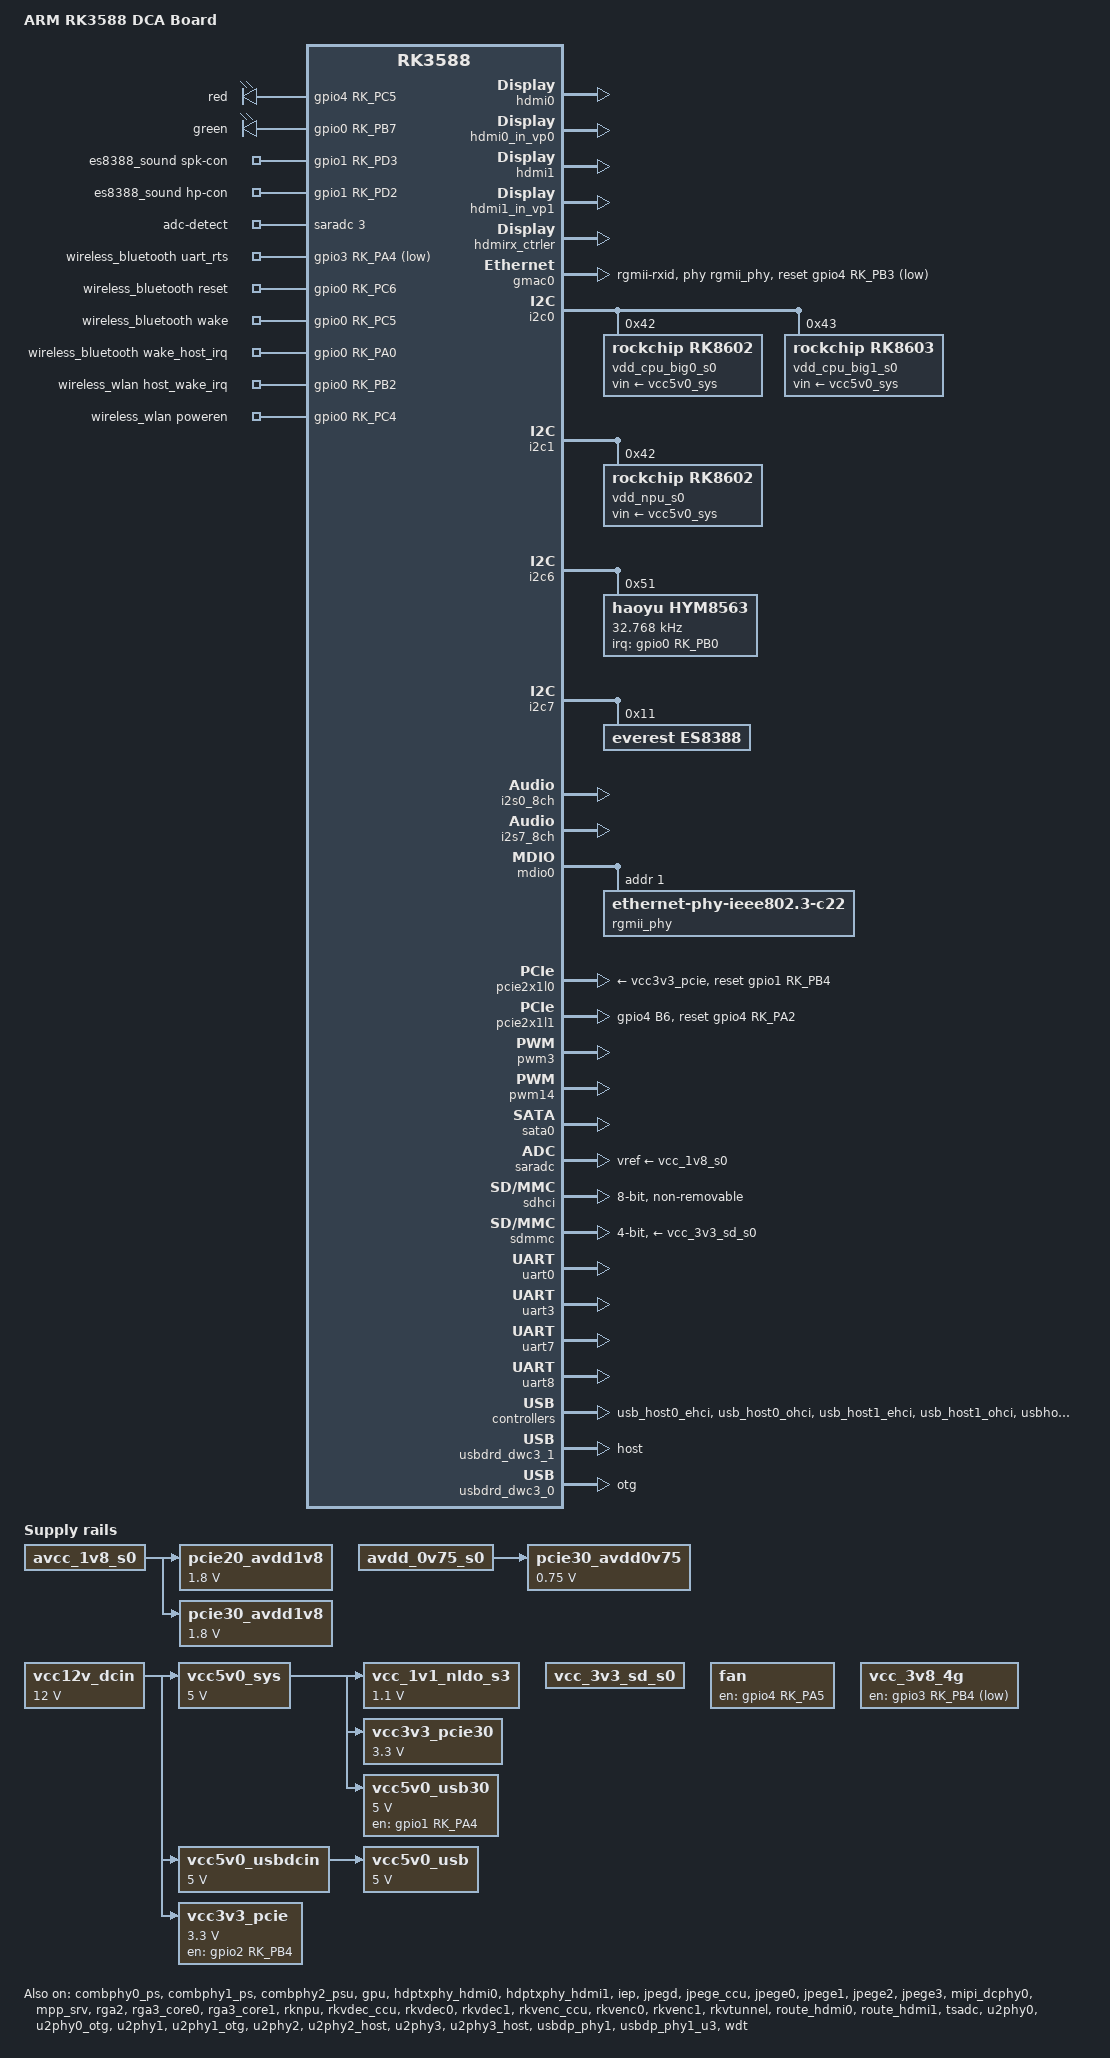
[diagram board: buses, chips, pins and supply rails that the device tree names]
// SPDX-License-Identifier: (GPL-2.0+ OR MIT)
/*
 * Copyright (c) 2023 Rockchip Electronics Co., Ltd.
 * Copyright (c) 2023 Rockchip rk3588-evb7-v11, Lhd.
 */

/dts-v1/;

#include <dt-bindings/gpio/gpio.h>
#include <dt-bindings/leds/common.h>
#include <dt-bindings/pwm/pwm.h>
#include <dt-bindings/pinctrl/rockchip.h>
#include <dt-bindings/input/rk-input.h>
#include <dt-bindings/display/drm_mipi_dsi.h>
#include <dt-bindings/display/rockchip_vop.h>
#include <dt-bindings/sensor-dev.h>
#include "dt-bindings/usb/pd.h"
#include "rk3588.dtsi"
#include "rk3588-rk806-single.dtsi"
#include "rk3588-linux.dtsi"

/ {
	model = "ARM RK3588 DCA Board";
	compatible = "rockchip,rk3588-armsoc-dca", "rockchip,rk3588";
	/delete-node/ chosen;
	
	vcc12v_dcin: vcc12v-dcin {
		compatible = "regulator-fixed";
		regulator-name = "vcc12v_dcin";
		regulator-always-on;
		regulator-boot-on;
		regulator-min-microvolt = <12000000>;
		regulator-max-microvolt = <12000000>;
	};

	vcc5v0_sys: vcc5v0-sys {
		compatible = "regulator-fixed";
		regulator-name = "vcc5v0_sys";
		regulator-always-on;
		regulator-boot-on;
		regulator-min-microvolt = <5000000>;
		regulator-max-microvolt = <5000000>;
		vin-supply = <&vcc12v_dcin>;
	};

	vcc5v0_usbdcin: vcc5v0-usbdcin {
		compatible = "regulator-fixed";
		regulator-name = "vcc5v0_usbdcin";
		regulator-always-on;
		regulator-boot-on;
		regulator-min-microvolt = <5000000>;
		regulator-max-microvolt = <5000000>;
		vin-supply = <&vcc12v_dcin>;
	};

	vcc5v0_usb: vcc5v0-usb {
		compatible = "regulator-fixed";
		regulator-name = "vcc5v0_usb";
		regulator-always-on;
		regulator-boot-on;
		regulator-min-microvolt = <5000000>;
		regulator-max-microvolt = <5000000>;
		vin-supply = <&vcc5v0_usbdcin>;
	};

	hdmi0_sound: hdmi0-sound {
		compatible = "rockchip,hdmi";
		rockchip,mclk-fs = <128>;
		rockchip,card-name = "rockchip-hdmi0";
		rockchip,cpu = <&i2s5_8ch>;
		rockchip,codec = <&hdmi0>;
		rockchip,jack-det;
	};

	leds: leds {
		compatible = "gpio-leds";
		work_led: work {
			label = "red";
			gpios = <&gpio4 RK_PC5 GPIO_ACTIVE_HIGH>;
			linux,default-trigger = "default-off";
			default-state = "off";
		};

		active_led: active {
			label = "green";
			gpios = <&gpio0 RK_PB7 GPIO_ACTIVE_HIGH>;
			linux,default-trigger = "default-off";
			default-state = "on";
		};
	};

	es8388_sound: es8388-sound {
		status = "okay";
		compatible = "rockchip,multicodecs-card";
		rockchip,card-name = "rockchip-es8388";
		io-channels = <&saradc 3>;
		io-channel-names = "adc-detect";
		keyup-threshold-microvolt = <1800000>;
		poll-interval = <100>;
		spk-con-gpio = <&gpio1 RK_PD3 GPIO_ACTIVE_HIGH>;
		hp-con-gpio = <&gpio1 RK_PD2 GPIO_ACTIVE_HIGH>;
		rockchip,format = "i2s";
		rockchip,mclk-fs = <256>;
		rockchip,cpu = <&i2s0_8ch>;
		rockchip,codec = <&es8388>;
		rockchip,audio-routing =
			"Headphone", "LOUT1",
			"Headphone", "ROUT1",

			"Speaker", "LOUT2",
			"Speaker", "ROUT2",
			"Headphone", "Headphone Power",
			"Headphone", "Headphone Power",
			"Speaker", "Speaker Power",
			"Speaker", "Speaker Power",
			"LINPUT1", "Main Mic",
			"LINPUT2", "Main Mic",
			"RINPUT1", "Headset Mic",
			"RINPUT2", "Headset Mic";
		pinctrl-names = "default";

		play-pause-key {
			label = "playpause";
			linux,code = <KEY_PLAYPAUSE>;
			press-threshold-microvolt = <2000>;
		};
	};
	
	hdmiin_dc: hdmiin-dc {
		compatible = "rockchip,dummy-codec";
		#sound-dai-cells = <0>;
	};
	
	hdmiin-sound {
		compatible = "simple-audio-card";
		simple-audio-card,format = "i2s";
		simple-audio-card,name = "rockchip,hdmiin";
		simple-audio-card,bitclock-master = <&dailink0_master>;
		simple-audio-card,frame-master = <&dailink0_master>;
		status = "okay";
		simple-audio-card,cpu {
			sound-dai = <&i2s7_8ch>;
		};
		dailink0_master: simple-audio-card,codec {
			sound-dai = <&hdmiin_dc>;
		};
	};
	
	pcie20_avdd1v8: pcie20-avdd1v8 {
		compatible = "regulator-fixed";
		regulator-name = "pcie20_avdd1v8";
		regulator-boot-on;
		regulator-always-on;
		regulator-min-microvolt = <1800000>;
		regulator-max-microvolt = <1800000>;
		vin-supply = <&avcc_1v8_s0>;
	};

	pcie30_avdd0v75: pcie30-avdd0v75 {
		compatible = "regulator-fixed";
		regulator-name = "pcie30_avdd0v75";
		regulator-boot-on;
		regulator-always-on;
		regulator-min-microvolt = <750000>;
		regulator-max-microvolt = <750000>;
		vin-supply = <&avdd_0v75_s0>;
	};

	pcie30_avdd1v8: pcie30-avdd1v8 {
		compatible = "regulator-fixed";
		regulator-name = "pcie30_avdd1v8";
		regulator-boot-on;
		regulator-always-on;
		regulator-min-microvolt = <1800000>;
		regulator-max-microvolt = <1800000>;
		vin-supply = <&avcc_1v8_s0>;
	};

	vcc_1v1_nldo_s3: vcc-1v1-nldo-s3 {
		compatible = "regulator-fixed";
		regulator-name = "vcc_1v1_nldo_s3";
		regulator-always-on;
		regulator-boot-on;
		regulator-min-microvolt = <1100000>;
		regulator-max-microvolt = <1100000>;
		vin-supply = <&vcc5v0_sys>;
	};

	vcc3v3_pcie30: vcc3v3-pcie30 {
		compatible = "regulator-fixed";
		regulator-name = "vcc3v3_pcie30";
		regulator-min-microvolt = <3300000>;
		regulator-max-microvolt = <3300000>;
		enable-active-high;
		startup-delay-us = <5000>;
		vin-supply = <&vcc5v0_sys>;
	};
	
	vcc3v3_pcie: vcc3v3-pcie {
        	compatible = "regulator-fixed";
        	regulator-name = "vcc3v3_pcie";
        	regulator-min-microvolt = <3300000>;
        	regulator-max-microvolt = <3300000>;
        	enable-active-high;
        	gpios = <&gpio2 RK_PB4 GPIO_ACTIVE_HIGH>;
        	startup-delay-us = <5000>;
        	vin-supply = <&vcc12v_dcin>;
    	};

	vcc_3v3_sd_s0: vcc-3v3-sd-s0-regulator {
		compatible = "regulator-fixed";
		pinctrl-names = "default";
		regulator-name = "vcc_3v3_sd_s0";
		enable-active-high;
	};
	
	fan: fan-regulator {
        	compatible = "regulator-fixed";
        	regulator-name = "fan-5v-regulator";
        	regulator-boot-on;
        	regulator-always-on;
        	enable-active-high;
        	gpio = <&gpio4 RK_PA5 GPIO_ACTIVE_HIGH>;
    	};

    	vcc_3v8_4g: vcc-3v8-4g {
        	compatible = "regulator-fixed";
		regulator-name = "vcc-3v8-4g-regulator";
		regulator-boot-on;
        	regulator-always-on;
		gpio = <&gpio3 RK_PB4 GPIO_ACTIVE_LOW>;
    	};

    	vcc5v0_usb30: vcc5v0-usb30 {
        	compatible = "regulator-fixed";
		regulator-name = "vcc5v0-usb30-regulator";
		regulator-boot-on;
        	enable-active-high;
		gpio = <&gpio1 RK_PA4 GPIO_ACTIVE_HIGH>;
		pinctrl-0 = <&vcc5v0_host_en>;
        	regulator-min-microvolt = <5000000>;
        	regulator-max-microvolt = <5000000>;
        	vin-supply = <&vcc5v0_sys>;
    	};


	wireless_bluetooth: wireless-bluetooth {
		compatible = "bluetooth-platdata";
		clocks = <&hym8563>;
		clock-names = "ext_clock";
		uart_rts_gpios = <&gpio3 RK_PA4 GPIO_ACTIVE_LOW>;
		pinctrl-names = "default", "rts_gpio";
		pinctrl-0 = <&uart8m1_rtsn>, <&bt_reset_gpio>, <&bt_wake_gpio>, <&bt_irq_gpio>;
		pinctrl-1 = <&uart8_gpios>;
		BT,reset_gpio    = <&gpio0 RK_PC6 GPIO_ACTIVE_HIGH>;//BT_REG_ON
		BT,wake_gpio     = <&gpio0 RK_PC5 GPIO_ACTIVE_HIGH>;//HOST_WAKE_BT
		BT,wake_host_irq = <&gpio0 RK_PA0 GPIO_ACTIVE_HIGH>;//BT_WAKE_HOST
		status = "okay";
	};

	wireless_wlan: wireless-wlan {
		compatible = "wlan-platdata";
		wifi_chip_type = "ap6255";
		pinctrl-names = "default";
		pinctrl-0 = <&wifi_host_wake_irq>,<&wifi_poweren_gpio>;
		WIFI,host_wake_irq = <&gpio0 RK_PB2 GPIO_ACTIVE_HIGH>;
		WIFI,poweren_gpio = <&gpio0 RK_PC4 GPIO_ACTIVE_HIGH>;
		status = "okay";
	};
};

&combphy0_ps {
	status = "okay";
};

&combphy1_ps {
	status = "okay";
};

&combphy2_psu {
	status = "okay";
};

&cpu_l0 {
	cpu-supply = <&vdd_cpu_lit_s0>;
	mem-supply = <&vdd_cpu_lit_mem_s0>;
};

&cpu_b0 {
	cpu-supply = <&vdd_cpu_big0_s0>;
	mem-supply = <&vdd_cpu_big0_mem_s0>;
};

&cpu_b2 {
	cpu-supply = <&vdd_cpu_big1_s0>;
	mem-supply = <&vdd_cpu_big1_mem_s0>;
};


&gpu {
	mali-supply = <&vdd_gpu_s0>;
	mem-supply = <&vdd_gpu_mem_s0>;
	status = "okay";
};

&hdmi0 {
	enable-gpios = <&gpio4 RK_PB1 GPIO_ACTIVE_HIGH>;
	status = "okay";
};

&hdmi0_in_vp0 {
	status = "okay";
};

&hdmi0_sound {
	status = "okay";
};

&hdmi1 {
	enable-gpios = <&gpio4 RK_PB2 GPIO_ACTIVE_HIGH>;
	status = "okay";
};

&hdmi1_in_vp1 {
	status = "okay";
};

&hdmirx_ctrler {
	status = "okay";
	hpd-trigger-level = <1>;
	hdmirx-det-gpios = <&gpio2 13 GPIO_ACTIVE_LOW>;
};

&hdptxphy_hdmi0 {
	status = "okay";
};

&hdptxphy_hdmi1 {
	status = "okay";
};

&gmac0 {
	phy-mode = "rgmii-rxid";
	clock_in_out = "output";
	snps,reset-gpio = <&gpio4 RK_PB3 GPIO_ACTIVE_LOW>;
	snps,reset-active-low;
	/* Reset time is 20ms, 100ms for rtl8211f */
	snps,reset-delays-us = <0 20000 100000>;
	pinctrl-names = "default";
	pinctrl-0 = <&gmac0_miim
		     &gmac0_tx_bus2
		     &gmac0_rx_bus2
		     &gmac0_rgmii_clk
		     &eth0_pins
		     &gmac0_rgmii_bus>;
	tx_delay = <0x43>;
	phy-handle = <&rgmii_phy>;
	status = "okay";
};

&i2c0 {
	status = "okay";
	pinctrl-names = "default";
	pinctrl-0 = <&i2c0m2_xfer>;

	vdd_cpu_big0_s0: vdd_cpu_big0_mem_s0: rk8602@42 {
		compatible = "rockchip,rk8602";
		reg = <0x42>;
		vin-supply = <&vcc5v0_sys>;
		regulator-compatible = "rk860x-reg";
		regulator-name = "vdd_cpu_big0_s0";
		regulator-min-microvolt = <550000>;
		regulator-max-microvolt = <1050000>;
		regulator-ramp-delay = <2300>;
		rockchip,suspend-voltage-selector = <1>;
		regulator-boot-on;
		regulator-always-on;
		regulator-state-mem {
			regulator-off-in-suspend;
		};
	};

	vdd_cpu_big1_s0: vdd_cpu_big1_mem_s0: rk8603@43 {
		compatible = "rockchip,rk8603";
		reg = <0x43>;
		vin-supply = <&vcc5v0_sys>;
		regulator-compatible = "rk860x-reg";
		regulator-name = "vdd_cpu_big1_s0";
		regulator-min-microvolt = <550000>;
		regulator-max-microvolt = <1050000>;
		regulator-ramp-delay = <2300>;
		rockchip,suspend-voltage-selector = <1>;
		regulator-boot-on;
		regulator-always-on;
		regulator-state-mem {
			regulator-off-in-suspend;
		};
	};
};

&i2c1 {
	status = "okay";
	pinctrl-names = "default";
	pinctrl-0 = <&i2c1m2_xfer>;

	vdd_npu_s0: vdd_npu_mem_s0: rk8602@42 {
		compatible = "rockchip,rk8602";
		reg = <0x42>;
		vin-supply = <&vcc5v0_sys>;
		regulator-compatible = "rk860x-reg";
		regulator-name = "vdd_npu_s0";
		regulator-min-microvolt = <550000>;
		regulator-max-microvolt = <950000>;
		regulator-ramp-delay = <2300>;
		rockchip,suspend-voltage-selector = <1>;
		regulator-boot-on;
		regulator-always-on;
		regulator-state-mem {
			regulator-off-in-suspend;
		};
	};
};

&i2c6 {
	status = "okay";

	hym8563: hym8563@51 {
		compatible = "haoyu,hym8563";
		reg = <0x51>;
		#clock-cells = <0>;
		clock-frequency = <32768>;
		clock-output-names = "hym8563";
		pinctrl-names = "default";
		pinctrl-0 = <&hym8563_int>;
		interrupt-parent = <&gpio0>;
		interrupts = <RK_PB0 IRQ_TYPE_LEVEL_LOW>;
		wakeup-source;
	};
};

&i2c7 {
	status = "okay";
	es8388: es8388@11 {
		status = "okay";
		#sound-dai-cells = <0>;
		compatible = "everest,es8388", "everest,es8323";
		reg = <0x11>;
		clocks = <&cru I2S0_8CH_MCLKOUT>;
		clock-names = "mclk";
		assigned-clocks = <&cru I2S0_8CH_MCLKOUT>;
		assigned-clock-rates = <12288000>;
		pinctrl-names = "default";
		pinctrl-0 = <&i2s0_mclk>;
	};
};


&i2s0_8ch {
	status = "okay";
	pinctrl-0 = <&i2s0_lrck
		     &i2s0_sclk
		     &i2s0_sdi0
		     &i2s0_sdo0>;
};

&i2s7_8ch {
	status = "okay";
};

&mdio0 {
	rgmii_phy: phy@1 {
		compatible = "ethernet-phy-ieee802.3-c22";
		reg = <0x1>;
	};
};

&pcie2x1l0 {
        reset-gpios = <&gpio1 RK_PB4 GPIO_ACTIVE_HIGH>;
        rockchip,skip-scan-in-resume;
        vpcie3v3-supply = <&vcc3v3_pcie>;
        status = "okay";
};

&pcie2x1l1 {
        reset-gpios = <&gpio4 RK_PA2 GPIO_ACTIVE_HIGH>;
        pinctrl-names = "default";
        pinctrl-0 = <&rtl8111_isolate>;
        status = "okay";
};

&iep {
	status = "okay";
};

&iep_mmu {
	status = "okay";
};

&jpegd {
	status = "okay";
};

&jpegd_mmu {
	status = "okay";
};

&jpege_ccu {
	status = "okay";
};

&jpege0 {
	status = "okay";
};

&jpege0_mmu {
	status = "okay";
};

&jpege1 {
	status = "okay";
};

&jpege1_mmu {
	status = "okay";
};

&jpege2 {
	status = "okay";
};

&jpege2_mmu {
	status = "okay";
};

&jpege3 {
	status = "okay";
};

&jpege3_mmu {
	status = "okay";
};

&mipi_dcphy0 {
	status = "okay";
};

&mpp_srv {
	status = "okay";
};

&pinctrl {

	hdmi {
		hdmirx_det: hdmirx-det {
			rockchip,pins = <2 RK_PB5 RK_FUNC_GPIO &pcfg_pull_up>;
		};
	};

	rtl8111 {
                rtl8111_isolate: rtl8111-isolate {
                        rockchip,pins = <4 RK_PB6 RK_FUNC_GPIO &pcfg_pull_up>;
                };
    	};

	headphone {
		hp_det: hp-det {
			rockchip,pins = <1 RK_PD5 RK_FUNC_GPIO &pcfg_pull_none>;
		};
	};

	hym8563 {
		hym8563_int: hym8563-int {
			rockchip,pins = <0 RK_PB0 RK_FUNC_GPIO &pcfg_pull_up>;
		};
	};

	usb {
		vcc5v0_host_en: vcc5v0-host-en {
			rockchip,pins = <1 RK_PA4 RK_FUNC_GPIO &pcfg_pull_none>;
		};
	};

	wireless-bluetooth {
		uart8_gpios: uart8-gpios {
			rockchip,pins = <3 RK_PA4 RK_FUNC_GPIO &pcfg_pull_none>;
		};

		bt_reset_gpio: bt-reset-gpio {
			rockchip,pins = <0 RK_PC6 RK_FUNC_GPIO &pcfg_pull_none>;
		};

		bt_wake_gpio: bt-wake-gpio {
			rockchip,pins = <0 RK_PC5 RK_FUNC_GPIO &pcfg_pull_none>;
		};

		bt_irq_gpio: bt-irq-gpio {
			rockchip,pins = <0 RK_PA0 RK_FUNC_GPIO &pcfg_pull_none>;
		};
	};

	wireless-wlan {
		wifi_host_wake_irq: wifi-host-wake-irq {
			rockchip,pins = <0 RK_PB2 RK_FUNC_GPIO &pcfg_pull_down>;
		};

		wifi_poweren_gpio: wifi-poweren-gpio {
			rockchip,pins = <0 RK_PC4 RK_FUNC_GPIO &pcfg_pull_up>;
		};

	};
};

&pwm3 {
	pinctrl-0 = <&pwm3m1_pins>;
	status = "okay";
};

&pwm14 {
      status = "okay";
};

&rga2 {
	status = "okay";
};

&rga3_core0 {
	status = "okay";
};

&rga3_0_mmu {
	status = "okay";
};

&rga3_core1 {
	status = "okay";
};

&rga3_1_mmu {
	status = "okay";
};

&rknpu {
	rknpu-supply = <&vdd_npu_s0>;
	mem-supply = <&vdd_npu_mem_s0>;
	status = "okay";
};

&rknpu_mmu {
	status = "okay";
};

&rkvdec_ccu {
	status = "okay";
};

&rkvdec0 {
	status = "okay";
};

&rkvdec0_mmu {
	status = "okay";
};

&rkvdec1 {
	status = "okay";
};

&rkvdec1_mmu {
	status = "okay";
};

&rkvenc_ccu {
	status = "okay";
};

&rkvenc0 {
	venc-supply = <&vdd_vdenc_s0>;
	mem-supply = <&vdd_vdenc_mem_s0>;
	status = "okay";
};

&rkvenc0_mmu {
	status = "okay";
};

&rkvenc1 {
	venc-supply = <&vdd_vdenc_s0>;
	mem-supply = <&vdd_vdenc_mem_s0>;
	status = "okay";
};

&rkvenc1_mmu {
	status = "okay";
};

&rkvtunnel {
	status = "okay";
};


&rockchip_suspend {
	status = "okay";
	rockchip,sleep-debug-en = <1>;
};

&route_hdmi0 {
	status = "okay";
};

&route_hdmi1 {
	status = "okay";
};

&sata0 {
	status = "okay";
};

&saradc {
	status = "okay";
	vref-supply = <&vcc_1v8_s0>;
};

&sdhci {
	bus-width = <8>;
	no-sdio;
	no-sd;
	non-removable;
	max-frequency = <200000000>;
	mmc-hs400-1_8v;
	mmc-hs400-enhanced-strobe;
	full-pwr-cycle-in-suspend;
	status = "okay";
};

&sdmmc {
	max-frequency = <200000000>;
	no-sdio;
	no-mmc;
	bus-width = <4>;
	cap-mmc-highspeed;
	cap-sd-highspeed;
	disable-wp;
	sd-uhs-sdr104;
	vmmc-supply = <&vcc_3v3_sd_s0>;
	vqmmc-supply = <&vccio_sd_s0>;
	pinctrl-names = "default";
	pinctrl-0 = <&sdmmc_bus4 &sdmmc_clk &sdmmc_cmd &sdmmc_det>;
	status = "okay";
};

&tsadc {
	status = "okay";
};

&uart0 {
	status = "okay";
	pinctrl-names = "default";
	pinctrl-0 = <&uart0m2_xfer>;
};

&uart3 {
        status = "okay";
        pinctrl-names = "default";
        pinctrl-0 = <&uart3m1_xfer>;
};

&uart7 {
	status = "okay";
	pinctrl-names = "default";
	pinctrl-0 = <&uart7m1_xfer>;
};

&uart8 {
        status = "okay";
        pinctrl-names = "default";
        pinctrl-0 = <&uart8m1_xfer &uart8m1_ctsn>;
};

&u2phy0 {
	status = "okay";
};

&u2phy0_otg {
	rockchip,typec-vbus-det;
	phy-supply = <&vcc5v0_usb30>;
	dr_mode = "host";
	status = "okay";
};

&u2phy1 {
	status = "okay";
};

&u2phy1_otg {
	status = "okay";
	phy-supply = <&vcc5v0_usb30>;
	dr_mode = "host";
};

&u2phy2 {
	status = "okay";
};

&u2phy2_host {
	status = "okay";
	phy-supply = <&vcc5v0_usb30>;
};

&u2phy3 {
	status = "okay";
};

&u2phy3_host {
	status = "okay";
	phy-supply = <&vcc5v0_usb30>;
};

&usb_host0_ehci {
	status = "okay";
};

&usb_host0_ohci {
	status = "okay";
};

&usb_host1_ehci {
	status = "okay";
};

&usb_host1_ohci {
	status = "okay";
};

&usbhost3_0 {
	status = "okay";
};

&usbhost_dwc3_0 {
	status = "okay";
};

&usbdrd3_1{
	status = "okay";
};

&usbdrd_dwc3_1{
	status = "okay";
};

&usbdp_phy1 {
	status = "okay";
};

&usbdp_phy1_u3 {
	status = "okay";
};

&usbdrd_dwc3_0 {
	dr_mode = "otg";
	extcon = <&u2phy0>;
	status = "okay";
};

&usbdrd_dwc3_1 {
	dr_mode = "host";
	maximum-speed = "high-speed";
	status = "okay";
};

&wdt{
	status="okay";
};

&saradc{
        status="okay";
};

&vdpu {
	status = "okay";
};

&vdpu_mmu {
	status = "okay";
};

&vepu {
	status = "okay";
};

&vop {
	status = "okay";
};

&vop_mmu {
	status = "okay";
};

/* vp0 & vp1 splice for 8K output */
&vp0 {
	rockchip,plane-mask = <(1 << ROCKCHIP_VOP2_CLUSTER0 | 1 << ROCKCHIP_VOP2_ESMART0)>;
	rockchip,primary-plane = <ROCKCHIP_VOP2_ESMART0>;
};

&vp1 {
	rockchip,plane-mask = <(1 << ROCKCHIP_VOP2_CLUSTER1 | 1 << ROCKCHIP_VOP2_ESMART1)>;
	rockchip,primary-plane = <ROCKCHIP_VOP2_ESMART1>;
};

&vp2 {
	rockchip,plane-mask = <(1 << ROCKCHIP_VOP2_CLUSTER2 | 1 << ROCKCHIP_VOP2_ESMART2)>;
	rockchip,primary-plane = <ROCKCHIP_VOP2_ESMART2>;
};

&vp3 {
	rockchip,plane-mask = <(1 << ROCKCHIP_VOP2_CLUSTER3 | 1 << ROCKCHIP_VOP2_ESMART3)>;
	rockchip,primary-plane = <ROCKCHIP_VOP2_ESMART3>;
};
